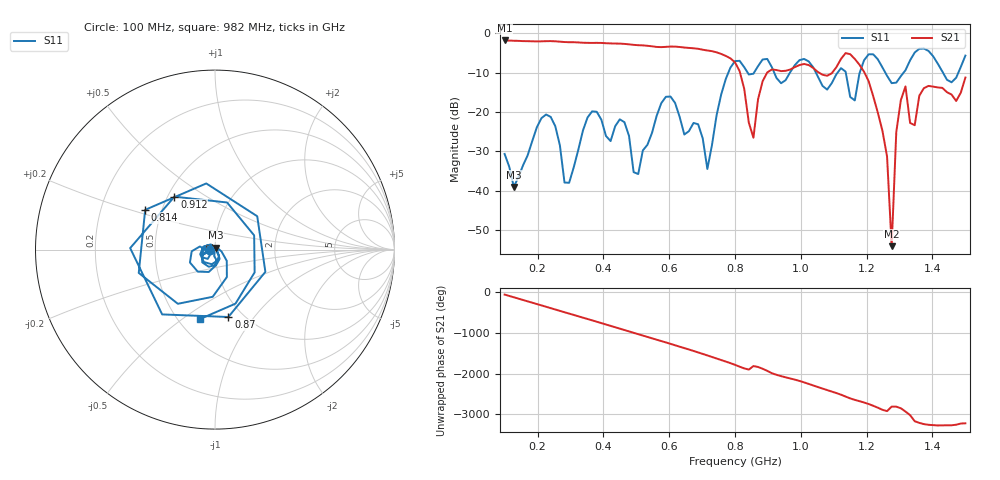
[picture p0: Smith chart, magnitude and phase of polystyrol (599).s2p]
! NanoVNA-App
! Date: 2025-09-25 15:34:33
! Start: 100MHz Stop: 1,5GHz Points: 101
! S-Parameter data: F S11 S21 S12 S22
# Hz S RI R 50
!  Frequency  S11_Real  S11_Imag  S21_Real  S21_Imag  S12_Real  S12_Imag  S22_Real  S22_Imag
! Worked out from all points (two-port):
!   101 points, 100 MHz to 1.5 GHz, reference 50 ohm
!   highest |S21| = -1.80 dB at 100 MHz (marker M1); lowest = -54.2 dB at 1.276 GHz (marker M2)
!   |S21| within 3 dB of the highest: start of sweep to 743.3 MHz
!   lowest |S11| = -39.1 dB at 128 MHz (marker M3), VSWR 1.02, Z = 50.3 + j1.06 ohm
!   |S11| at or under -10 dB: start of sweep to 779.8 MHz; 1.046 GHz to 1.112 GHz (65.8 MHz wide, 6.1 % of centre); 1.257 GHz to 1.312 GHz (55.43 MHz wide, 4.32 % of centre) (the widest 3 of 7)
!   S12 and S22 are empty: the file has one direction only
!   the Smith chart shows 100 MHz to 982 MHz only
!   S11 on the Smith chart (normalised r, x): 100 MHz: 0.94, -0.01; 814 MHz: 0.40, +0.22; 870 MHz: 0.86, -0.75; 912 MHz: 0.54, +0.37; 982 MHz: 0.64, -0.58
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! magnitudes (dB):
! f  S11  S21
! 100 MHz  -30.7  -1.8
! 128 MHz  -39.1  -1.9
! 212 MHz  -21.6  -2.0
! 282 MHz  -38.0  -2.2
! 338 MHz  -24.7  -2.4
! 506 MHz  -35.8  -3.0
! 576 MHz  -17.8  -3.5
! 716 MHz  -34.5  -4.3
! 800 MHz  -7.0  -7.4
! 814 MHz  -7.0  -9.6
! 856 MHz  -10.3  -26.6
! 870 MHz  -8.3  -16.8
! 912 MHz  -8.6  -9.2
! 982 MHz  -8.1  -8.6
! 1.038 GHz  -8.7  -8.8
! 1.164 GHz  -17.1  -6.5
! 1.206 GHz  -5.3  -12.2
! 1.262 GHz  -10.8  -31.4
! 1.276 GHz  -12.7  -54.2
! 1.29 GHz  -12.5  -25.1
! 1.318 GHz  -9.4  -13.5
! 1.5 GHz  -5.7  -11.2
